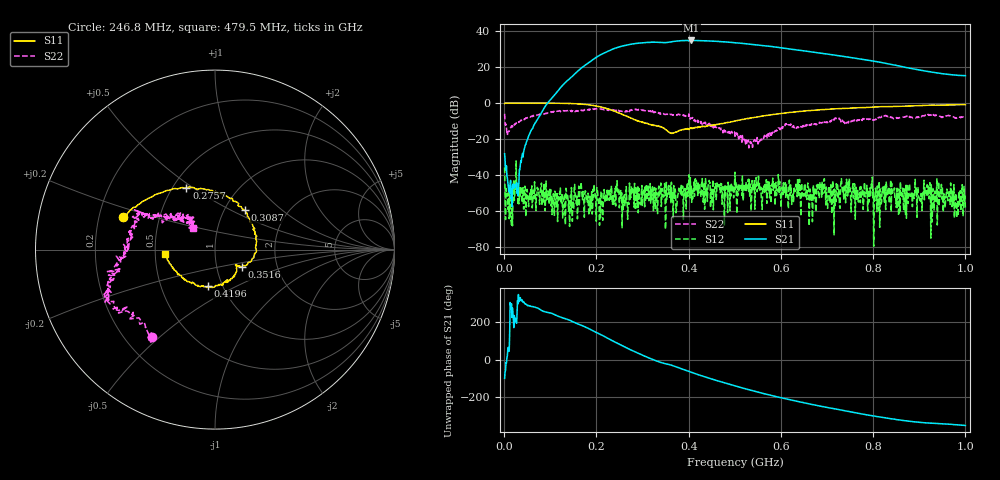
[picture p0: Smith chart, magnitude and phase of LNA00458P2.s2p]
! Created with skrf 1.9.0 (http://scikit-rf.org).
# Hz S RI R 50.0
!freq ReS11 ImS11 ReS21 ImS21 ReS12 ImS12 ReS22 ImS22
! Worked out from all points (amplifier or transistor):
!   1001 points, 1 MHz to 1 GHz, reference 50 ohm
!   highest |S21| = 34.9 dB at 405.6 MHz (marker M1)
!   |S21| within 3 dB of that: 258.2 MHz to 566.1 MHz (307.9 MHz wide, 74.7 % of centre)
!   unconditionally stable (mu >= 1): 20.63 MHz to 59.23 MHz; 245 MHz to 400.4 MHz; 400.8 MHz to end of sweep (the widest 3 of 37)
!   at 166.8 MHz: K = 0.09, MSG = 31.7 dB, |S12| = -44.1 dB
!   at 500.5 MHz: K = 1.07, MAG = 34.4 dB, |S12| = -38.5 dB
!   at 1 GHz: K = 11.47, MAG = 23.3 dB, |S12| = -58.5 dB
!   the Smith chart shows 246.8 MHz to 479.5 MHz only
!   S11 on the Smith chart (normalised r, x): 246.8 MHz: 0.31, +0.15; 275.7 MHz: 0.58, +0.47; 308.7 MHz: 1.25, +0.59; 351.6 MHz: 1.32, -0.27; 419.6 MHz: 0.85, -0.36; 479.5 MHz: 0.56, -0.03
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1000000  0.9758 0.00834  -0.00677 -0.038  -0.00737 0.0143  0.3997 0.3034
1.08892e8  0.5329 -0.8417  -0.7588 -1.474  0.000705 -0.000112  0.422 -0.3759
1.67833e8  -0.213 -0.9092  -9.576 -0.7688  0.00345 0.00201  0.0472 -0.6312
2.11789e8  -0.6692 -0.3721  -15.4 17.24  -0.00144 -0.00318  -0.1939 -0.6401
2.29771e8  -0.6533 -0.0667  -9.462 28.06  5.09e-05 -0.00374  -0.2655 -0.6021
2.46754e8  -0.5101 0.1792  1.949 35.86  0.0026 -0.002  -0.3485 -0.4892
2.75725e8  -0.1591 0.3457  27.55 34.19  -0.00436 0.002  -0.5425 -0.3202
3.08692e8  0.1684 0.219  47.2 12.61  -0.00419 0.00368  -0.5864 -0.1614
3.34666e8  0.2316 -0.00664  48.57 -8.934  -0.00155 0.00407  -0.5158 -0.0468
3.51649e8  0.1485 -0.0986  44.75 -18.94  0.000204 0.00618  -0.4896 0.00988
3.75625e8  0.1199 -0.1053  41.05 -35.27  -0.00209 0.000706  -0.4336 0.1823
4.05595e8  0.0349 -0.1988  21.16 -51.42  -0.000432 0.00475  -0.3146 0.2028
4.19581e8  -0.0386 -0.2036  10.33 -54.27  0.00264 0.00036  -0.2811 0.1822
4.46554e8  -0.1735 -0.1622  -10.04 -52.81  0.00405 0.00454  -0.1864 0.1827
4.79521e8  -0.2787 -0.0229  -29.52 -41.3  0.00194 0.00178  -0.1219 0.1191
5.005e8  -0.3008 0.1012  -37.29 -30.66  0.0109 -0.00457  -0.0965 0.069
5.4046e8  -0.2462 0.3108  -41.71 -9.372  0.0036 -0.000287  -0.0812 0.00377
5.88412e8  -0.0569 0.4876  -34.76 10.86  0.00232 -0.00417  -0.1413 -0.0948
6.67333e8  0.3209 0.5384  -13.13 22.98  0.00225 -0.002  -0.2483 -0.053
7.53247e8  0.6248 0.3745  3.457 18.13  0.000386 -0.00243  -0.307 0.0206
8.34166e8  0.7851 0.147  8.719 8.715  0.00255 -0.00239  -0.4122 0.0762
1e9  0.8165 -0.3871  5.761 0.7254  0.000598 -0.00102  -0.1765 0.3647
